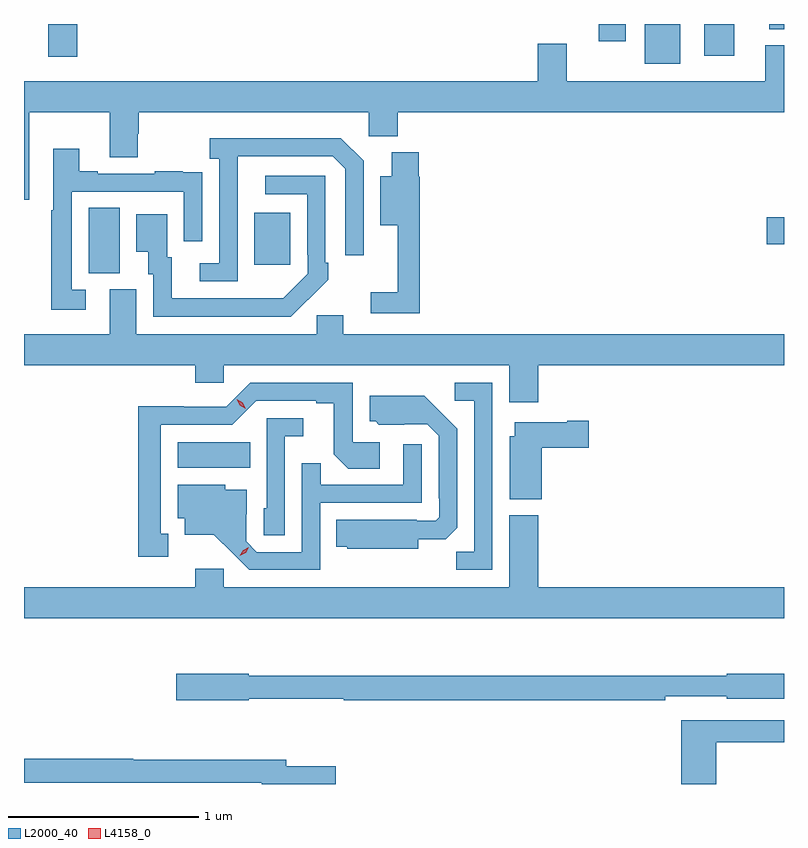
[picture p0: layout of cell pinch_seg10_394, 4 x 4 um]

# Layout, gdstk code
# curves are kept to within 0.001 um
import gdstk
lib = gdstk.Library(unit=1e-6, precision=1e-09)
def R(c, l, rs):  # rectangles x0, y0, x1, y1
    for r in rs: c.add(gdstk.rectangle(r[:2], r[2:], *l))
def P(c, l, *ps):  # polygons
    for p in ps: c.add(gdstk.Polygon(p, *l))
L2000_40 = (2000, 40)
L4158_0 = (4158, 0)

pinch_seg10_394 = lib.new_cell('pinch_seg10_394')
R(pinch_seg10_394, L2000_40, [(377.132,1314.428,377.516,1314.562), (376.664,1315.453,376.828,1315.796), (377.537,1315.497,377.725,1315.771), (380.232,1315.606,380.324,1315.748), (379.592,1316.555,379.777,1316.764), (376.451,1316.592,376.604,1316.764), (379.904,1316.598,380.062,1316.764), (379.349,1316.673,379.492,1316.764), (380.246,1316.737,380.324,1316.764)])
P(pinch_seg10_394, L2000_40, [(376.351,1316.3),(376.775,1316.3),(376.775,1316.062),(376.923,1316.062),(376.923,1316.187),(376.928,1316.187),(376.928,1316.3),(378.138,1316.3),(378.138,1316.174),(378.29,1316.174),(378.29,1316.3),(380.324,1316.3),(380.324,1316.652),(380.225,1316.652),(380.225,1316.464),(379.18,1316.464),(379.18,1316.659),(379.028,1316.659),(379.028,1316.464),(376.324,1316.464),(376.324,1315.839),(376.351,1315.839)],
  [(377.448,1315.867),(377.449,1316.067),(377.949,1316.067),(378.015,1316.001),(378.015,1315.548),(378.111,1315.548),(378.111,1316.043),(377.99,1316.164),(377.301,1316.164),(377.301,1316.054),(377.352,1316.054),(377.352,1315.506),(377.25,1315.506),(377.25,1315.41),(377.448,1315.41)],
  [(376.648,1315.365),(376.575,1315.365),(376.575,1315.881),(377.166,1315.881),(377.166,1315.62),(377.262,1315.62),(377.262,1315.874),(377.261,1315.874),(377.261,1315.983),(377.159,1315.983),(377.159,1315.99),(377.011,1315.99),(377.011,1315.977),(376.711,1315.977),(376.711,1315.99),(376.615,1315.99),(376.615,1316.107),(376.479,1316.107),(376.479,1315.784),(376.467,1315.784),(376.467,1315.26),(376.648,1315.26)],
  [(378.407,1315.959),(378.401,1315.959),(378.401,1316.089),(378.26,1316.089),(378.26,1315.963),(378.2,1315.963),(378.2,1315.706),(378.29,1315.706),(378.29,1315.351),(378.15,1315.351),(378.15,1315.242),(378.407,1315.242)],
  [(377.819,1315.315),(377.82,1315.314),(377.925,1315.419),(377.925,1315.507),(377.91,1315.507),(377.91,1315.965),(377.595,1315.965),(377.595,1315.869),(377.814,1315.869),(377.814,1315.549),(377.817,1315.549),(377.817,1315.449),(377.689,1315.321),(377.101,1315.32),(377.101,1315.536),(377.077,1315.536),(377.077,1315.762),(376.916,1315.762),(376.916,1315.565),(376.979,1315.565),(376.979,1315.446),(377.004,1315.446),(377.004,1315.224),(377.728,1315.224)],
  [(379.031,1314.968),(380.324,1314.968),(380.324,1315.132),(378.004,1315.132),(378.004,1315.23),(377.865,1315.23),(377.865,1315.132),(376.915,1315.132),(376.915,1315.368),(376.775,1315.368),(376.775,1315.132),(376.324,1315.132),(376.324,1314.968),(377.225,1314.968),(377.225,1314.875),(377.376,1314.875),(377.376,1314.968),(378.878,1314.968),(378.878,1314.774),(379.031,1314.774)],
  [(378.789,1314.876),(378.591,1314.876),(378.591,1314.78),(378.693,1314.78),(378.693,1313.987),(378.598,1313.987),(378.598,1313.892),(378.789,1313.892)],
  [(377.083,1314.081),(377.044,1314.081),(377.044,1314.654),(377.421,1314.654),(377.547,1314.78),(377.861,1314.78),(377.861,1314.768),(377.955,1314.768),(377.955,1314.5),(378.031,1314.424),(378.196,1314.424),(378.196,1314.564),(378.054,1314.564),(378.054,1314.876),(377.514,1314.876),(377.388,1314.75),(377.166,1314.75),(377.166,1314.752),(376.926,1314.752),(376.926,1313.961),(377.083,1313.961)],
  [(378.4,1314.053),(378.544,1314.053),(378.603,1314.112),(378.603,1314.634),(378.431,1314.808),(378.143,1314.808),(378.143,1314.672),(378.174,1314.672),(378.19,1314.656),(378.447,1314.657),(378.507,1314.597),(378.507,1314.268),(378.51,1314.268),(378.51,1314.168),(378.492,1314.15),(378.392,1314.15),(378.392,1314.154),(377.968,1314.154),(377.968,1314.014),(378.024,1314.014),(378.024,1314.002),(378.4,1314.002)],
  [(377.697,1314.593),(377.794,1314.593),(377.794,1314.69),(377.601,1314.69),(377.601,1314.216),(377.586,1314.216),(377.586,1314.073),(377.697,1314.073)],
  [(379.048,1314.533),(379.297,1314.533),(379.297,1314.675),(379.184,1314.675),(379.184,1314.667),(378.908,1314.667),(378.908,1314.594),(378.881,1314.594),(378.881,1314.263),(379.048,1314.263)],
  [(377.883,1314.243),(378.417,1314.243),(378.417,1314.553),(378.321,1314.553),(378.321,1314.339),(377.885,1314.339),(377.885,1314.452),(377.787,1314.452),(377.787,1313.985),(377.55,1313.985),(377.493,1314.042),(377.493,1314.184),(377.497,1314.184),(377.497,1314.313),(377.382,1314.313),(377.382,1314.34),(377.132,1314.34),(377.132,1314.164),(377.171,1314.164),(377.171,1314.077),(377.323,1314.077),(377.51,1313.892),(377.883,1313.892)],
  [(380.324,1313.8),(379.031,1313.8),(379.031,1314.178),(378.878,1314.178),(378.878,1313.8),(377.376,1313.8),(377.376,1313.896),(377.225,1313.896),(377.225,1313.8),(376.324,1313.8),(376.324,1313.636),(380.324,1313.636)],
  [(377.508,1313.214),(378.008,1313.214),(378.008,1313.206),(379.7,1313.206),(379.7,1313.226),(380.022,1313.226),(380.022,1313.213),(380.324,1313.213),(380.324,1313.343),(380.022,1313.343),(380.022,1313.335),(377.508,1313.335),(377.508,1313.343),(377.124,1313.343),(377.124,1313.206),(377.508,1313.206)],
  [(379.967,1312.984),(380.324,1312.984),(380.324,1313.1),(379.784,1313.1),(379.784,1312.764),(379.967,1312.764)],
  [(377.965,1312.857),(377.704,1312.857),(377.704,1312.891),(376.9,1312.891),(376.9,1312.898),(376.324,1312.898),(376.324,1312.77),(377.576,1312.77),(377.576,1312.764),(377.965,1312.764)])
P(pinch_seg10_394, L4158_0, [(377.46,1313.966),(377.46,1313.966),(377.477,1313.995),(377.508,1314.01),(377.508,1314.01),(377.508,1314.01),(377.491,1313.98),(377.46,1313.966)],
  [(377.492,1314.738),(377.46,1314.758),(377.443,1314.79),(377.443,1314.79),(377.443,1314.79),(377.475,1314.771),(377.492,1314.738),(377.492,1314.738)])

lib.write_gds('pinch_seg10_394.gds')
